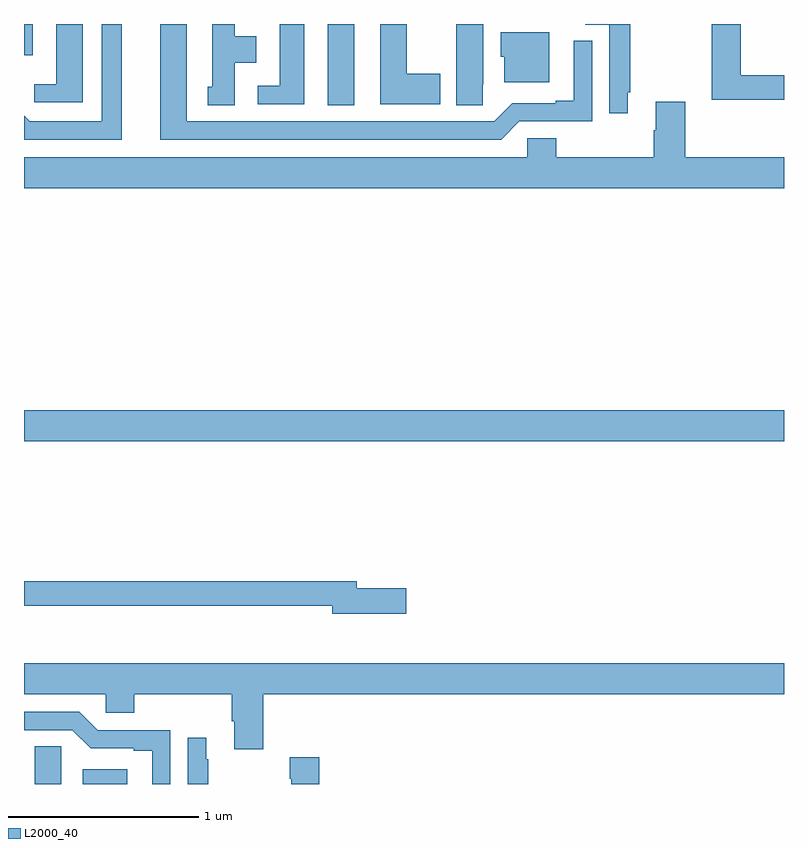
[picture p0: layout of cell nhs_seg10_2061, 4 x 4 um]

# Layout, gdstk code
import gdstk
lib = gdstk.Library(unit=1e-6, precision=1e-09)
def R(c, l, rs):  # rectangles x0, y0, x1, y1
    for r in rs: c.add(gdstk.rectangle(r[:2], r[2:], *l))
def P(c, l, *ps):  # polygons
    for p in ps: c.add(gdstk.Polygon(p, *l))
L2000_40 = (2000, 40)

nhs_seg10_2061 = lib.new_cell('nhs_seg10_2061')
R(nhs_seg10_2061, L2000_40, [(219.308,1310.5,219.544,1310.578), (219,1312.304,223,1312.468), (220.598,1314.073,220.738,1314.5), (219,1314.336,219.045,1314.5)])
P(nhs_seg10_2061, L2000_40, [(221.191,1314.237),(221.014,1314.237),(221.014,1314.5),(220.874,1314.5),(220.874,1314.077),(221.191,1314.077)],
  [(219.31,1314.5),(219.17,1314.5),(219.17,1314.184),(219.054,1314.184),(219.054,1314.087),(219.31,1314.087)],
  [(220.108,1314.296),(220.222,1314.296),(220.222,1314.436),(220.108,1314.436),(220.108,1314.5),(219.992,1314.5),(219.992,1314.171),(219.968,1314.171),(219.968,1314.073),(220.108,1314.073)],
  [(221.607,1313.988),(221.991,1313.988),(221.991,1314.412),(221.894,1314.412),(221.894,1314.097),(221.798,1314.097),(221.798,1314.084),(221.571,1314.084),(221.475,1313.988),(219.856,1313.988),(219.856,1314.5),(219.716,1314.5),(219.716,1313.892),(221.511,1313.892)],
  [(222.178,1314.142),(222.19,1314.142),(222.19,1314.5),(221.954,1314.5),(221.954,1314.497),(222.081,1314.497),(222.081,1314.03),(222.178,1314.03)],
  [(221.415,1314.184),(221.416,1314.184),(221.416,1314.5),(221.276,1314.5),(221.276,1314.073),(221.415,1314.073)],
  [(223,1314.23),(222.773,1314.23),(222.773,1314.5),(222.619,1314.5),(222.619,1314.102),(223,1314.102)],
  [(220.474,1314.5),(220.346,1314.5),(220.346,1314.174),(220.23,1314.174),(220.23,1314.078),(220.474,1314.078)],
  [(219.514,1314.5),(219.41,1314.5),(219.41,1313.988),(219.03,1313.988),(219,1314.018),(219,1313.892),(219.514,1313.892)],
  [(221.764,1314.457),(221.51,1314.457),(221.51,1314.327),(221.528,1314.327),(221.528,1314.194),(221.764,1314.194)],
  [(223,1313.8),(222.479,1313.8),(222.479,1314.091),(222.326,1314.091),(222.326,1313.942),(222.314,1313.942),(222.314,1313.8),(221.801,1313.8),(221.801,1313.898),(221.649,1313.898),(221.649,1313.8),(219,1313.8),(219,1313.636),(223,1313.636)],
  [(221.011,1311.53),(220.75,1311.53),(220.75,1311.566),(219,1311.566),(219,1311.438),(220.622,1311.438),(220.622,1311.395),(221.011,1311.395)],
  [(220.259,1310.972),(223,1310.972),(223,1311.136),(219,1311.136),(219,1310.972),(219.429,1310.972),(219.429,1310.874),(219.581,1310.874),(219.581,1310.972),(220.094,1310.972),(220.094,1310.83),(220.106,1310.83),(220.106,1310.682),(220.259,1310.682)],
  [(219.771,1310.784),(219.387,1310.784),(219.291,1310.88),(219,1310.88),(219,1310.784),(219.255,1310.784),(219.351,1310.688),(219.578,1310.688),(219.578,1310.676),(219.674,1310.676),(219.674,1310.5),(219.771,1310.5)],
  [(219.97,1310.63),(219.958,1310.63),(219.958,1310.743),(219.861,1310.743),(219.861,1310.5),(219.97,1310.5)],
  [(219.196,1310.588),(219.195,1310.588),(219.195,1310.699),(219.056,1310.699),(219.056,1310.5),(219.196,1310.5)],
  [(220.553,1310.641),(220.399,1310.641),(220.399,1310.528),(220.406,1310.528),(220.406,1310.5),(220.553,1310.5)])

lib.write_gds('nhs_seg10_2061.gds')
